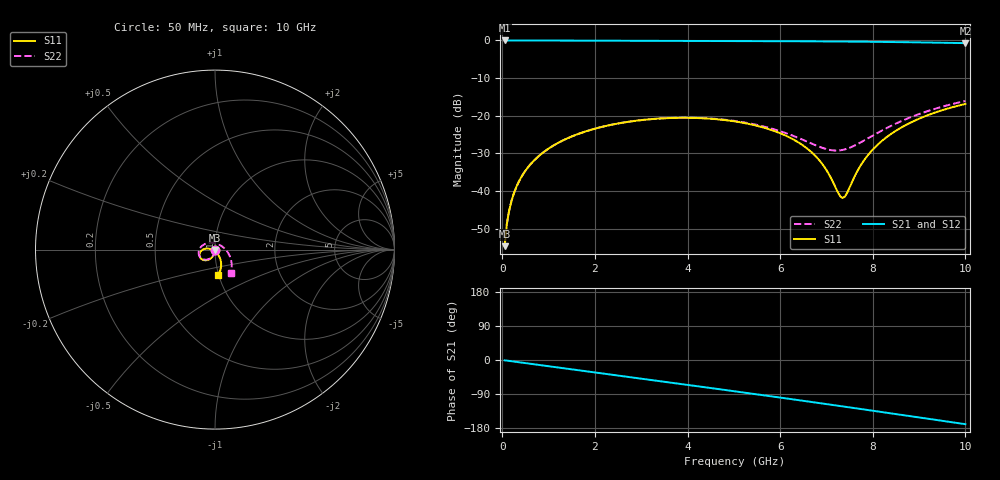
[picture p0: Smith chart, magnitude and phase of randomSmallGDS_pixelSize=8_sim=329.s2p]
! freq	dB(S11)	phase(S11)	dB(S12)	phase(S12)
!  dB(S21)	phase(S21)	dB(S22)	phase(S22)
!S-par simulation data
#  GHz  S  DB  R 50
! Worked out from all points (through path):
!   200 points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, 50 MHz to 10 GHz, reference 50 ohm
!   highest |S21| = 0.00 dB at 50 MHz (marker M1); lowest = -0.7 dB at 10 GHz (marker M2)
!   group delay of S21, straight-line fit = 46.9 ps
!   lowest |S11| = -54.7 dB at 50 MHz (marker M3), VSWR 1.00, Z = 50 - j0.184 ohm
!   |S11| at or under -10 dB: start of sweep to end of sweep
!   |S22| runs from -54.7 to -16.1 dB; largest |S21 - S12| = 0
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0.05  -54.69 -90.4  -0.00 -0.8  -0.00 -0.8  -54.67 -90.5
0.1  -48.66 -91.7  -0.00 -1.7  -0.00 -1.7  -48.64 -91.8
0.2  -42.61 -93.7  -0.00 -3.3  -0.00 -3.3  -42.59 -94.0
0.35  -37.72 -96.4  -0.00 -5.8  -0.00 -5.8  -37.70 -96.8
0.5  -34.62 -98.8  -0.01 -8.3  -0.01 -8.3  -34.61 -99.4
1  -28.75 -106.9  -0.02 -16.5  -0.02 -16.5  -28.74 -108.2
1.75  -24.38 -118.9  -0.05 -28.7  -0.05 -28.7  -24.38 -121.4
2.5  -22.07 -130.8  -0.07 -41.0  -0.07 -41.0  -22.06 -134.6
3.4  -20.75 -144.9  -0.10 -55.7  -0.10 -55.7  -20.74 -150.9
5.05  -21.58 -170.3  -0.15 -83.1  -0.15 -83.1  -21.45 175.3
6  -24.66 176.5  -0.19 -99.1  -0.19 -99.1  -24.12 148.5
6.4  -27.14 172.5  -0.21 -106.0  -0.21 -106.0  -25.94 131.9
6.7  -29.96 171.6  -0.23 -111.1  -0.23 -111.1  -27.52 114.7
6.95  -33.53 175.1  -0.25 -115.5  -0.25 -115.5  -28.71 95.4
7.25  -40.46 -154.3  -0.27 -120.7  -0.27 -120.7  -29.26 66.5
7.35  -41.88 -124.1  -0.28 -122.4  -0.28 -122.4  -29.09 56.4
7.45  -40.43 -93.4  -0.29 -124.2  -0.29 -124.2  -28.76 46.5
7.65  -35.13 -66.5  -0.31 -127.7  -0.31 -127.7  -27.68 28.9
7.85  -31.21 -59.6  -0.34 -131.2  -0.34 -131.2  -26.33 14.5
8.35  -25.24 -59.8  -0.40 -140.0  -0.40 -140.0  -22.98 -10.9
9.05  -20.54 -68.5  -0.52 -152.5  -0.52 -152.5  -19.34 -33.7
10  -16.88 -83.4  -0.71 -169.4  -0.71 -169.4  -16.10 -56.0
